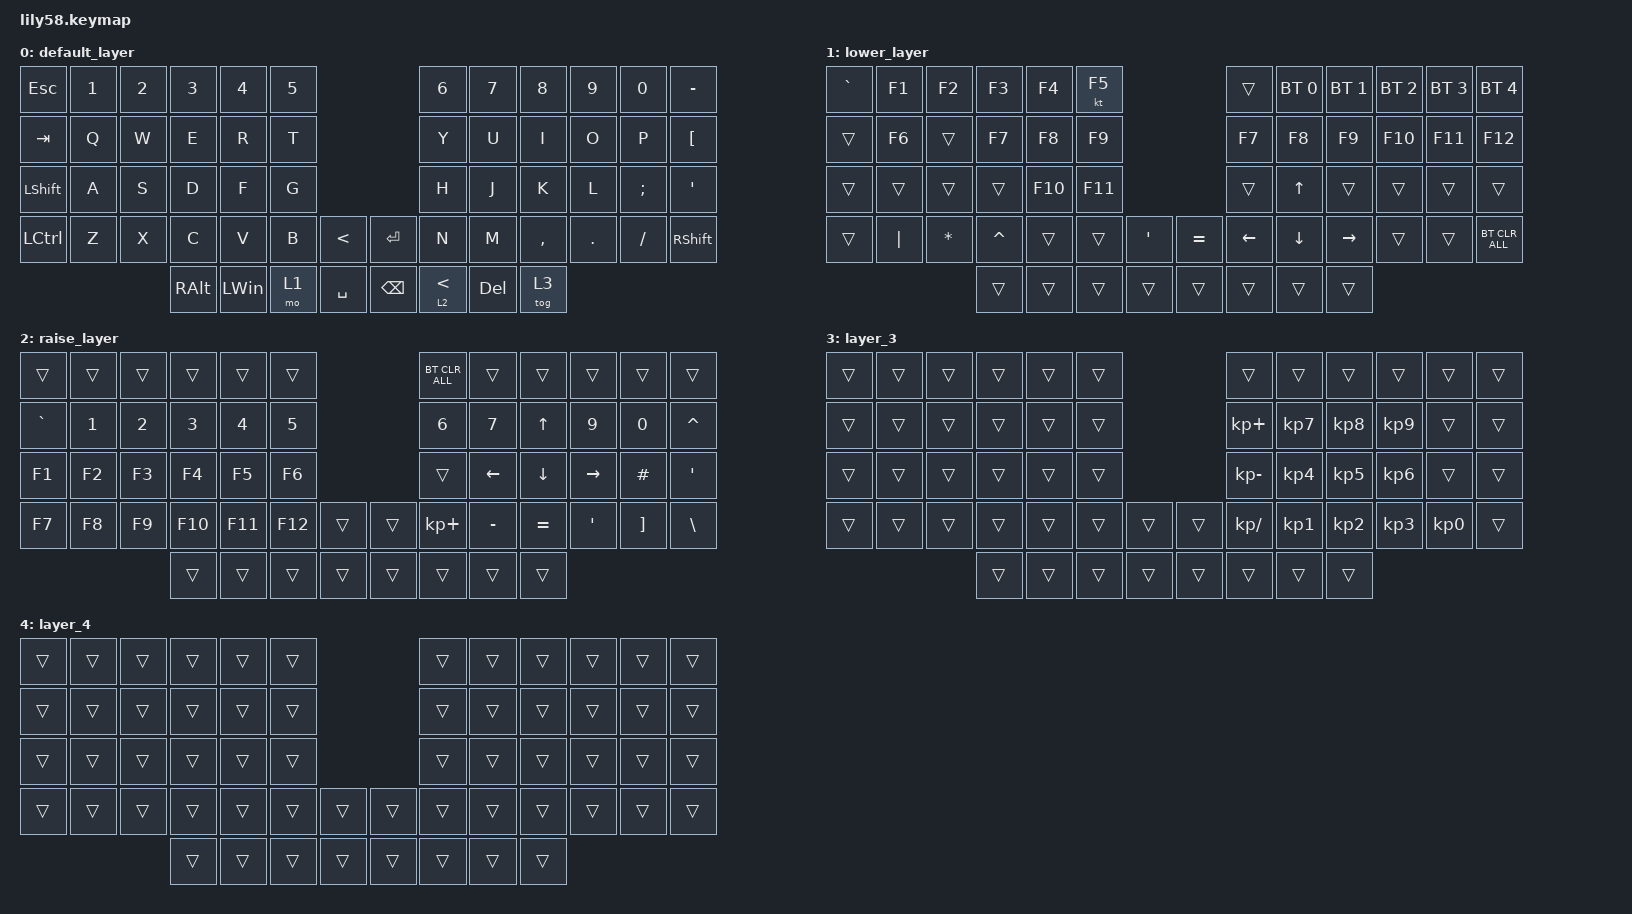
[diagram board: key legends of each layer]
/*
 * Copyright (c) 2020 The ZMK Contributors
 *
 * SPDX-License-Identifier: MIT
 */

#include <behaviors.dtsi>
#include <dt-bindings/zmk/bt.h>
#include <dt-bindings/zmk/keys.h>
#include <dt-bindings/zmk/keys.h>

&lt { tapping-term-ms = <200>; };

/ {
    keymap {
        compatible = "zmk,keymap";

        default_layer {
            // QWERTY
            // ,-----------------------------------------.                                ,-----------------------------------------.
            // | ESC  |   1  |   2  |   3  |   4  |   5  |                                |   6  |   7  |   8  |   9  |   0  |  -   |
            // |------+------+------+------+------+------|                                |------+------+------+------+------+------|
            // | Tab  |   Q  |   W  |   E  |   R  |   T  |                                |   Y  |   U  |   I  |   O  |   P  |  +   |
            // |------+------+------+------+------+------|                                |------+------+------+------+------+------|
            // |LShift|   A  |   S  |   D  |   F  |   G  |-------.                ,-------|   H  |   J  |   K  |   L  |   ;  |  '   |
            // |------+------+------+------+------+------|   [   |                |    ]  |------+------+------+------+------+------|
            // |LCTRL |   Z  |   X  |   C  |   V  |   B  |-------|                |-------|   N  |   M  |   ,  |   .  |   /  |Enter |
            // `-----------------------------------------/       /                 \      \-----------------------------------------'
            //                   | LGUI |LAlt |L1_PSCR| /BackSP /                   \Space \  |L2_DEL|  \   |RShift|
            //                   |      |     |       |/       /                     \      \ |      |      |      |
            //                   `----------------------------'                       '------''--------------------'

            bindings = <
&kp ESC    &kp N1  &kp N2  &kp N3         &kp N4        &kp N5                                  &kp N6           &kp N7      &kp N8     &kp N9   &kp N0         &kp MINUS
&kp TAB    &kp Q   &kp W   &kp E          &kp R         &kp T                                   &kp Y            &kp U       &kp I      &kp O    &kp P          &kp LEFT_BRACKET
&kp LSHFT  &kp A   &kp S   &kp D          &kp F         &kp G                                   &kp H            &kp J       &kp K      &kp L    &kp SEMICOLON  &kp SQT
&kp LCTRL  &kp Z   &kp X   &kp C          &kp V         &kp B   &kp LESS_THAN    &kp ENTER      &kp N            &kp M       &kp COMMA  &kp DOT  &kp SLASH      &kp RIGHT_SHIFT
                           &kp RIGHT_ALT  &kp LEFT_WIN  &mo 1   &kp SPACE        &kp BACKSPACE  &lt 2 LESS_THAN  &kp DELETE  &tog 3
            >;
        };

        lower_layer {
            // ,-----------------------------------------.                                                                 ,-----------------------------------------.
            // |      |      |      |      |      |      |                                                                | BTCLR|  BT1 |  BT2 |  BT3 |  BT4 |  BT5 |
            // |------+------+------+------+------+------|                                                                |------+------+------+------+------+------|
            // |  F1  |  F2  |  F3  |  F4  |  F5  |  F6  |                                                                |  F7  |  F8  |  F9  | F10  | F11  |  F12 |
            // |------+------+------+------+------+------|                                                                |------+------+------+------+------+------|
            // |      |      |      |      |      |      |-------.                                                ,-------|      |   ^  |      |      |      |      |
            // |------+------+------+------+------+------|       |                                                |       |------+------+------+------+------+------|
            // |      |      |      |      |      |      |-------|                                                |-------|  <-  |   v  |  ->  |      |      |      |
            // `-----------------------------------------/       /                                                 \      \-----------------------------------------'
            //                   |      |     |       | /       /                                                   \      \  |      |      |      |
            //                   |      |     |       |/       /                                                     \      \ |      |      |      |
            //                   `----------------------------'                                                       '------''--------------------'

            bindings = <
&kp GRAVE  &kp F1    &kp F2        &kp F3     &kp F4   &kt F5                         &trans    &bt BT_SEL 0  &bt BT_SEL 1  &bt BT_SEL 2  &bt BT_SEL 3  &bt BT_SEL 4
&trans     &kp F6    &trans        &kp F7     &kp F8   &kp F9                         &kp F7    &kp F8        &kp F9        &kp F10       &kp F11       &kp F12
&trans     &trans    &trans        &trans     &kp F10  &kp F11                        &trans    &kp UP        &trans        &trans        &trans        &trans
&trans     &kp PIPE  &kp ASTERISK  &kp CARET  &trans   &trans   &kp SQT    &kp EQUAL  &kp LEFT  &kp DOWN      &kp RIGHT     &trans        &trans        &bt BT_CLR_ALL
                                   &trans     &trans   &trans   &trans     &trans     &trans    &trans        &trans
            >;
        };

        raise_layer {
            // ------------------------------------------------------------------------------------------------------------
            // |       |     |     |      |      |      |                   |      |       |       |      |       |       |
            // |   `   |  1  |  2  |  3   |  4   |  5   |                   |  6   |   7   |   8   |  9   |   0   |       |
            // |   F1  |  F2 |  F3 |  F4  |  F5  |  F6  |                   |      |   <-  |   v   |  ^   |  ->   |       |
            // |   F7  |  F8 |  F9 |  F10 |  F11 |  F12 |        |  |       |  +   |   -   |   =   |  [   |   ]   |   \   |
            //                     |      |      |      |        |  |       |      |       |       |

            bindings = <
&trans     &trans  &trans  &trans   &trans   &trans                     &bt BT_CLR_ALL  &trans     &trans        &trans           &trans     &trans
&kp GRAVE  &kp N1  &kp N2  &kp N3   &kp N4   &kp N5                     &kp N6          &kp N7     &kp UP_ARROW  &kp N9           &kp N0     &kp CARET
&kp F1     &kp F2  &kp F3  &kp F4   &kp F5   &kp F6                     &trans          &kp LEFT   &kp DOWN      &kp RIGHT_ARROW  &kp POUND  &kp SINGLE_QUOTE
&kp F7     &kp F8  &kp F9  &kp F10  &kp F11  &kp F12  &trans    &trans  &kp KP_PLUS     &kp MINUS  &kp EQUAL     &kp SQT          &kp RBKT   &kp BSLH
                           &trans   &trans   &trans   &trans    &trans  &trans          &trans     &trans
            >;
        };

        layer_3 {
            bindings = <
&trans  &trans  &trans  &trans  &trans  &trans                    &trans         &trans           &trans           &trans           &trans           &trans
&trans  &trans  &trans  &trans  &trans  &trans                    &kp KP_PLUS    &kp KP_NUMBER_7  &kp KP_NUMBER_8  &kp KP_NUMBER_9  &trans           &trans
&trans  &trans  &trans  &trans  &trans  &trans                    &kp KP_MINUS   &kp KP_NUMBER_4  &kp KP_NUMBER_5  &kp KP_NUMBER_6  &trans           &trans
&trans  &trans  &trans  &trans  &trans  &trans  &trans    &trans  &kp KP_DIVIDE  &kp KP_NUMBER_1  &kp KP_NUMBER_2  &kp KP_NUMBER_3  &kp KP_NUMBER_0  &trans
                        &trans  &trans  &trans  &trans    &trans  &trans         &trans           &trans
            >;
        };

        layer_4 {
            bindings = <
&trans  &trans  &trans  &trans  &trans  &trans                    &trans  &trans  &trans  &trans  &trans  &trans
&trans  &trans  &trans  &trans  &trans  &trans                    &trans  &trans  &trans  &trans  &trans  &trans
&trans  &trans  &trans  &trans  &trans  &trans                    &trans  &trans  &trans  &trans  &trans  &trans
&trans  &trans  &trans  &trans  &trans  &trans  &trans    &trans  &trans  &trans  &trans  &trans  &trans  &trans
                        &trans  &trans  &trans  &trans    &trans  &trans  &trans  &trans
            >;
        };
    };
};
